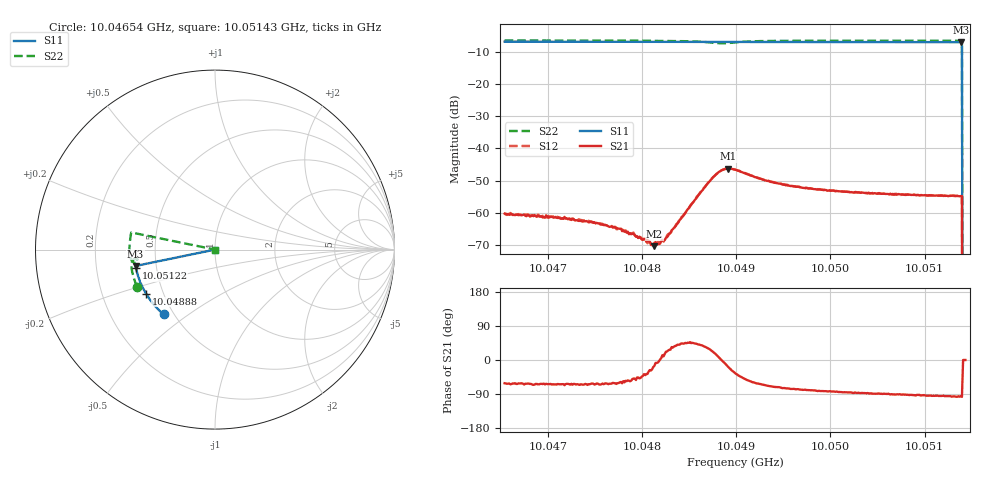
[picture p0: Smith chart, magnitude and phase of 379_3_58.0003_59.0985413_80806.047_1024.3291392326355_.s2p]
#  HZ  S  RI  R  50.00
! Rohde & Schwarz Vector Network Analyzer
! Rohde-Schwarz,ZNB20-2Port,1311601062101988,3.16
! Created: UTC 3/21/2024, 1:07:16 AM
! freq[Hz]  re:S11  im:S11  re:S21  im:S21  re:S12  im:S12  re:S22  im:S22
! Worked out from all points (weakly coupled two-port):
!   401 points, 10.04654 GHz to 10.05143 GHz, reference 50 ohm
!   highest |S21| = -46.27 dB at 10.04891 GHz (marker M1); lowest = -70.5 dB at 10.04813 GHz (marker M2)
!   lowest |S11| = -6.9 dB at 10.05138 GHz (marker M3), VSWR 2.65, Z = 19 - j4.4 ohm
!   |S11| at or under -10 dB: 10.0514 GHz to end of sweep
!   |S22| runs from - to -6.4 dB; largest |S21 - S12| = 0.00034
!   S11 on the Smith chart (normalised r, x): 10.04654 GHz: 0.44, -0.41; 10.04888 GHz: 0.40, -0.25; 10.05122 GHz: 0.38, -0.10; 10.05143 GHz: 1.00, +0.00
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1.0046541e10  -0.2855 -0.3615  0.000463 -0.000845  0.000525 -0.000807  -0.4341 -0.2067
1.0047201e10  -0.3175 -0.3318  0.000373 -0.000725  0.000397 -0.000714  -0.4502 -0.1651
1.004736e10  -0.3247 -0.3242  0.000314 -0.000659  0.000373 -0.00067  -0.4534 -0.1548
1.004747e10  -0.3297 -0.3188  0.000338 -0.000636  0.000335 -0.000622  -0.4555 -0.1474
1.0047751e10  -0.3419 -0.3049  0.000276 -0.000492  0.000313 -0.000472  -0.4605 -0.1281
1.0047923e10  -0.349 -0.296  0.000293 -0.000338  0.000294 -0.000324  -0.4628 -0.1159
1.004813e10  -0.3574 -0.2853  0.000289 -8.07e-05  0.000329 -8.61e-05  -0.4651 -0.1
1.0048179e10  -0.3593 -0.2827  0.000323 -1.85e-05  0.000319 1.95e-09  -0.4653 -0.0964
1.0048253e10  -0.3621 -0.2788  0.000376 0.000149  0.000372 0.000163  -0.4654 -0.0902
1.0048326e10  -0.3651 -0.2749  0.000462 0.000299  0.000429 0.000335  -0.4655 -0.0838
1.004873e10  -0.3796 -0.2526  0.00291 0.00142  0.00285 0.00156  -0.4434 -0.0506
1.0048803e10  -0.3819 -0.2485  0.00407 0.000704  0.00402 0.00101  -0.4337 -0.0537
1.0048877e10  -0.3842 -0.2446  0.0047 -0.000668  0.00477 -0.00038  -0.4303 -0.064
1.0048913e10  -0.3855 -0.2426  0.00463 -0.00149  0.00473 -0.00121  -0.4325 -0.069
1.0048987e10  -0.388 -0.2385  0.00384 -0.00263  0.00406 -0.0024  -0.4417 -0.0745
1.004939e10  -0.4009 -0.2154  0.001 -0.00279  0.00119 -0.00276  -0.4709 -0.0457
1.0049806e10  -0.4125 -0.1905  0.000415 -0.00232  0.000511 -0.00231  -0.4758 -0.013
1.0050625e10  -0.431 -0.14  -2.31e-06 -0.00192  0.000117 -0.00194  -0.4747 0.0446
1.0051225e10  -0.4408 -0.1021  -0.000171 -0.00181  -6.69e-05 -0.00181  -0.4689 0.0845
1.0051371e10  -0.4426 -0.0926  -0.000209 -0.00179  -0.000122 -0.0018  -0.4669 0.0939
1.0051384e10  -0.4426 -0.0919  -0.000187 -0.0018  -0.000127 -0.00181  -0.4668 0.0948
1.0051433e10  0 0  0 0  0 0  0 0
